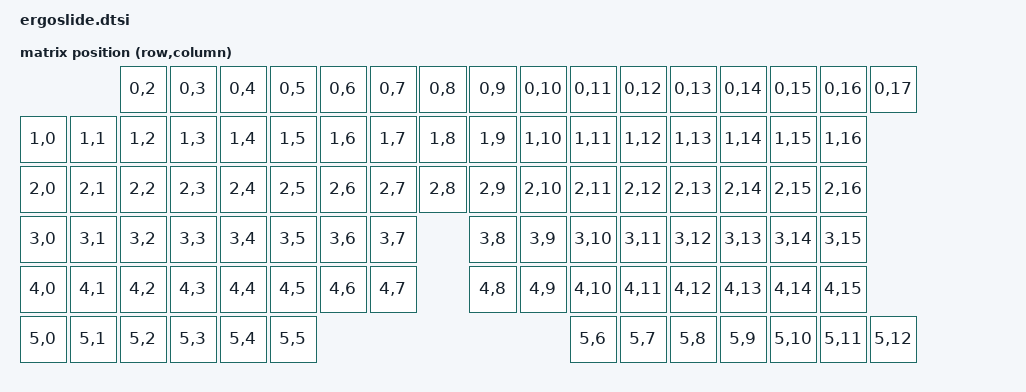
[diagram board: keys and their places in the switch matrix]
#include <dt-bindings/zmk/matrix_transform.h>
#include "ergoslide-layouts.dtsi"

&ergoslide_physical_layout {
      kscan = <&kscan0>; // Label of the kscan node, optional if all layouts use the same
      transform = <&default_transform>; // Label of the matrix transform for this layout
};

/ {
  kscan0: kscan0 {
    compatible = "zmk,kscan-gpio-matrix";
    diode-direction = "col2row";
    wakeup-source;
  };

  behaviors {
    hw_soft_off: hw_soft_off {
      compatible = "zmk,behavior-soft-off";
      #binding-cells = <0>;
      split-peripheral-off-on-press; // Turn peripheral off immediately for reliability
      hold-time-ms = <1000>; // Only turn off if the key is held for 1 seconds or longer.
    };
  };

  keys {
    compatible = "gpio-keys";
    soft_off_gpio_key: soft_off_gpio_key {
      gpios = <&pro_micro 9 (GPIO_ACTIVE_LOW | GPIO_PULL_UP)>;
    };
  };

  wakeup_scan: wakeup_scan {
    compatible = "zmk,kscan-gpio-direct";
    input-keys = <&soft_off_gpio_key>;
    wakeup-source;
  };

  side_band_behavior_triggers: side_band_behavior_triggers {
    compatible = "zmk,kscan-sideband-behaviors";

    kscan = <&wakeup_scan>;
    auto-enable;
    wakeup-source;

    soft_off {
      column = <0>;
      row = <0>;
      bindings = <&hw_soft_off>;
    };
  };

  soft_off_wakers {
      compatible = "zmk,soft-off-wakeup-sources";
      wakeup-sources = <&kscan0>;
  };

  default_transform: keymap_transform0 {
        compatible = "zmk,matrix-transform";
        columns = <18>;
        rows = <6>;
        map = <
                              RC(0,2) RC(0,3) RC(0,4) RC(0,5) RC(0,6) RC(0,7) RC(0,8)      RC(0,9) RC(0,10) RC(0,11) RC(0,12) RC(0,13) RC(0,14) RC(0,15) RC(0,16) RC(0,17)
          RC(1,0) RC(1,1)     RC(1,2) RC(1,3) RC(1,4) RC(1,5) RC(1,6) RC(1,7) RC(1,8)      RC(1,9) RC(1,10) RC(1,11) RC(1,12) RC(1,13) RC(1,14)          RC(1,15) RC(1,16)
          RC(2,0) RC(2,1)     RC(2,2) RC(2,3) RC(2,4) RC(2,5) RC(2,6) RC(2,7)              RC(2,8) RC(2,9)  RC(2,10) RC(2,11) RC(2,12) RC(2,13) RC(2,14) RC(2,15) RC(2,16)
          RC(3,0) RC(3,1)     RC(3,2) RC(3,3) RC(3,4) RC(3,5) RC(3,6) RC(3,7)              RC(3,8) RC(3,9)  RC(3,10) RC(3,11) RC(3,12) RC(3,13)          RC(3,14) RC(3,15)
          RC(4,0) RC(4,1)     RC(4,2) RC(4,3) RC(4,4) RC(4,5) RC(4,6) RC(4,7)              RC(4,8) RC(4,9)  RC(4,10) RC(4,11) RC(4,12)          RC(4,13) RC(4,14) RC(4,15)
          RC(5,0) RC(5,1)     RC(5,2) RC(5,3) RC(5,4) RC(5,5)                                               RC(5,6)  RC(5,7)  RC(5,8)  RC(5,9)  RC(5,10) RC(5,11) RC(5,12)
        >;
  };

  chosen {
    zmk,kscan = &kscan0;
    zmk,physical-layout = &ergoslide_physical_layout;
  };
};
